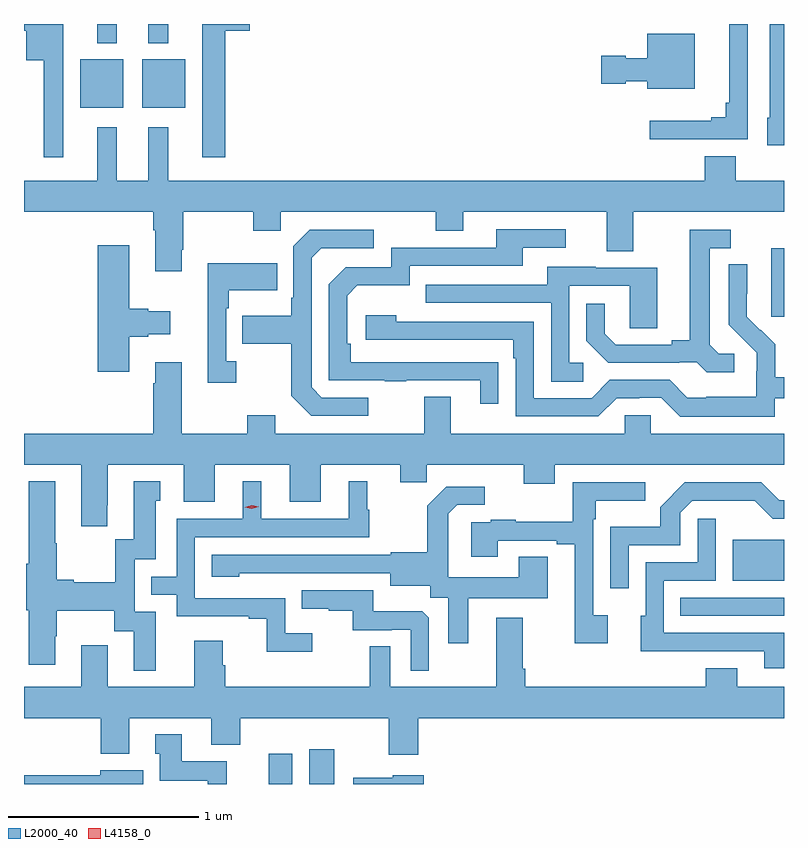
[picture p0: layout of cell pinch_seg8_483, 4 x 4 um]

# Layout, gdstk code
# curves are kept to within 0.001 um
import gdstk
lib = gdstk.Library(unit=1e-6, precision=1e-09)
def R(c, l, rs):  # rectangles x0, y0, x1, y1
    for r in rs: c.add(gdstk.rectangle(r[:2], r[2:], *l))
def P(c, l, *ps):  # polygons
    for p in ps: c.add(gdstk.Polygon(p, *l))
L2000_40 = (2000, 40)
L4158_0 = (4158, 0)

pinch_seg8_483 = lib.new_cell('pinch_seg8_483')
R(pinch_seg8_483, L2000_40, [(231.074,1122.813,231.199,1122.973), (231.287,1122.813,231.418,1122.997), (233.239,1123.698,233.786,1123.794), (233.516,1123.883,233.786,1124.098), (233.72,1125.273,233.786,1125.634), (230.081,1126.373,230.308,1126.627), (230.408,1126.373,230.635,1126.627), (230.171,1126.712,230.275,1126.813), (230.441,1126.712,230.545,1126.813)])
P(pinch_seg8_483, L2000_40, [(233.595,1126.813),(233.498,1126.813),(233.498,1126.399),(233.479,1126.399),(233.479,1126.322),(233.402,1126.322),(233.402,1126.303),(233.079,1126.303),(233.079,1126.206),(233.595,1126.206)],
  [(230.845,1126.778),(230.974,1126.778),(230.974,1126.813),(230.723,1126.813),(230.723,1126.113),(230.845,1126.113)],
  [(229.993,1126.813),(229.786,1126.813),(229.786,1126.778),(229.799,1126.778),(229.799,1126.622),(229.889,1126.622),(229.889,1126.113),(229.993,1126.113)],
  [(233.786,1126.813),(233.712,1126.813),(233.712,1126.32),(233.699,1126.32),(233.699,1126.176),(233.786,1126.176)],
  [(233.317,1126.762),(233.066,1126.762),(233.066,1126.633),(232.953,1126.633),(232.953,1126.646),(232.824,1126.646),(232.824,1126.499),(232.953,1126.499),(232.953,1126.511),(233.066,1126.511),(233.066,1126.472),(233.317,1126.472)],
  [(230.545,1126.27),(230.441,1126.27),(230.441,1125.988),(230.275,1125.988),(230.275,1126.27),(230.171,1126.27),(230.171,1125.988),(229.786,1125.988),(229.786,1125.824),(230.465,1125.824),(230.465,1125.728),(230.477,1125.728),(230.477,1125.513),(230.617,1125.513),(230.617,1125.625),(230.625,1125.625),(230.625,1125.824),(230.992,1125.824),(230.992,1125.725),(231.138,1125.725),(231.138,1125.824),(231.952,1125.824),(231.952,1125.725),(232.099,1125.725),(232.099,1125.824),(232.853,1125.824),(232.853,1125.616),(232.993,1125.616),(232.993,1125.824),(233.786,1125.824),(233.786,1125.988),(233.533,1125.988),(233.533,1126.117),(233.369,1126.117),(233.369,1125.988),(230.545,1125.988)],
  [(232.283,1125.032),(231.506,1125.033),(231.506,1125.13),(231.486,1125.13),(231.486,1125.384),(231.539,1125.437),(231.816,1125.437),(231.816,1125.54),(232.411,1125.54),(232.411,1125.636),(232.636,1125.636),(232.636,1125.732),(232.271,1125.732),(232.271,1125.636),(231.72,1125.636),(231.72,1125.534),(231.48,1125.534),(231.39,1125.444),(231.39,1124.937),(231.685,1124.937),(231.685,1124.932),(231.797,1124.932),(231.797,1124.937),(232.187,1124.937),(232.187,1124.814),(232.283,1124.814)],
  [(233.524,1125.078),(233.442,1125.078),(233.395,1125.125),(233.395,1125.633),(233.506,1125.633),(233.506,1125.729),(233.291,1125.729),(233.291,1125.149),(233.195,1125.149),(233.195,1125.126),(232.9,1125.126),(232.843,1125.183),(232.843,1125.34),(232.746,1125.34),(232.746,1125.146),(232.862,1125.03),(233.234,1125.03),(233.234,1125.033),(233.328,1125.033),(233.38,1124.981),(233.524,1124.981)],
  [(231.598,1124.847),(231.354,1124.847),(231.3,1124.901),(231.3,1125.582),(231.351,1125.633),(231.628,1125.633),(231.628,1125.729),(231.291,1125.729),(231.204,1125.642),(231.204,1125.373),(231.192,1125.373),(231.192,1125.277),(230.935,1125.277),(230.935,1125.13),(231.192,1125.13),(231.192,1124.857),(231.297,1124.751),(231.598,1124.751)],
  [(230.341,1125.167),(230.441,1125.167),(230.441,1125.179),(230.557,1125.179),(230.557,1125.301),(230.441,1125.301),(230.441,1125.314),(230.341,1125.314),(230.341,1125.649),(230.174,1125.649),(230.174,1124.982),(230.341,1124.982)],
  [(230.902,1125.038),(230.85,1125.038),(230.85,1125.317),(230.863,1125.317),(230.863,1125.413),(231.119,1125.413),(231.119,1125.553),(230.753,1125.553),(230.753,1124.925),(230.902,1124.925)],
  [(233.736,1124.844),(233.786,1124.844),(233.786,1124.953),(233.741,1124.953),(233.741,1125.127),(233.664,1125.204),(233.661,1125.201),(233.591,1125.272),(233.592,1125.548),(233.496,1125.548),(233.496,1125.23),(233.642,1125.082),(233.642,1124.985),(233.64,1124.985),(233.64,1124.851),(233.377,1124.851),(233.377,1124.847),(233.277,1124.847),(233.184,1124.94),(232.869,1124.94),(232.773,1124.844),(232.47,1124.844),(232.47,1125.246),(231.746,1125.246),(231.746,1125.28),(231.585,1125.28),(231.585,1125.15),(232.361,1125.15),(232.361,1125.053),(232.374,1125.053),(232.374,1124.748),(232.809,1124.748),(232.905,1124.844),(233.024,1124.844),(233.024,1124.847),(233.139,1124.847),(233.239,1124.747),(233.736,1124.747)],
  [(232.729,1125.03),(232.656,1125.03),(232.656,1125.435),(232.974,1125.435),(232.974,1125.211),(233.119,1125.211),(233.119,1125.531),(232.795,1125.531),(232.795,1125.535),(232.541,1125.535),(232.541,1125.441),(231.901,1125.441),(231.901,1125.345),(232.56,1125.345),(232.56,1124.929),(232.729,1124.929)],
  [(230.224,1124.281),(230.227,1124.281),(230.227,1124.492),(230.627,1124.492),(230.627,1124.298),(230.791,1124.298),(230.791,1124.492),(231.185,1124.492),(231.185,1124.298),(231.349,1124.298),(231.349,1124.492),(231.767,1124.492),(231.767,1124.402),(231.905,1124.402),(231.905,1124.492),(232.415,1124.492),(232.415,1124.393),(232.579,1124.393),(232.579,1124.492),(233.786,1124.492),(233.786,1124.656),(233.085,1124.656),(233.085,1124.754),(232.947,1124.754),(232.947,1124.656),(232.033,1124.656),(232.033,1124.851),(231.893,1124.851),(231.893,1124.656),(231.109,1124.656),(231.109,1124.755),(230.962,1124.755),(230.962,1124.656),(230.617,1124.656),(230.617,1125.034),(230.477,1125.034),(230.477,1124.921),(230.465,1124.921),(230.465,1124.656),(229.786,1124.656),(229.786,1124.492),(230.087,1124.492),(230.087,1124.169),(230.224,1124.169)],
  [(231.304,1123.606),(231.162,1123.606),(231.162,1123.791),(230.685,1123.791),(230.685,1124.112),(231.604,1124.112),(231.604,1124.256),(231.592,1124.256),(231.592,1124.407),(231.494,1124.407),(231.494,1124.208),(231.034,1124.208),(231.034,1124.407),(230.936,1124.407),(230.936,1124.208),(230.589,1124.208),(230.589,1123.905),(230.455,1123.905),(230.455,1123.809),(230.589,1123.809),(230.589,1123.695),(230.969,1123.695),(230.969,1123.683),(231.064,1123.683),(231.064,1123.508),(231.304,1123.508)],
  [(230.479,1123.719),(230.37,1123.719),(230.37,1123.995),(230.479,1123.995),(230.479,1124.304),(230.503,1124.304),(230.503,1124.407),(230.363,1124.407),(230.363,1124.1),(230.267,1124.1),(230.267,1123.876),(230.047,1123.876),(230.047,1123.889),(229.959,1123.889),(229.959,1124.081),(229.951,1124.081),(229.951,1124.407),(229.811,1124.407),(229.811,1123.972),(229.799,1123.972),(229.799,1123.728),(229.811,1123.728),(229.811,1123.44),(229.951,1123.44),(229.951,1123.59),(229.959,1123.59),(229.959,1123.724),(230.262,1123.724),(230.262,1123.618),(230.363,1123.618),(230.363,1123.41),(230.479,1123.41)],
  [(232.968,1124.07),(233.241,1124.07),(233.241,1124.241),(233.304,1124.304),(233.633,1124.303),(233.727,1124.208),(233.786,1124.208),(233.786,1124.306),(233.762,1124.306),(233.667,1124.4),(233.264,1124.4),(233.134,1124.27),(233.134,1124.167),(232.872,1124.167),(232.872,1123.842),(232.968,1123.842)],
  [(232.858,1123.702),(232.782,1123.702),(232.782,1124.207),(232.795,1124.207),(232.795,1124.303),(233.056,1124.303),(233.056,1124.4),(232.674,1124.4),(232.674,1124.192),(232.375,1124.192),(232.375,1124.203),(232.243,1124.203),(232.243,1124.19),(232.139,1124.19),(232.139,1124.01),(232.279,1124.01),(232.279,1124.094),(232.589,1124.094),(232.589,1124.076),(232.685,1124.076),(232.685,1123.554),(232.858,1123.554)],
  [(232.123,1123.79),(232.543,1123.79),(232.543,1124.009),(232.391,1124.009),(232.391,1123.9),(232.02,1123.9),(232.02,1124.141),(232.018,1124.141),(232.018,1124.236),(232.065,1124.283),(232.21,1124.283),(232.21,1124.377),(232.009,1124.377),(231.909,1124.277),(231.909,1124.032),(231.717,1124.032),(231.717,1124.019),(230.775,1124.019),(230.775,1123.904),(230.919,1123.904),(230.919,1123.922),(231.713,1123.923),(231.713,1123.856),(231.924,1123.856),(231.924,1123.792),(232.019,1123.792),(232.019,1123.554),(232.123,1123.554)],
  [(233.786,1123.608),(233.154,1123.608),(233.154,1123.884),(233.427,1123.884),(233.427,1124.209),(233.331,1124.209),(233.331,1123.98),(233.058,1123.98),(233.058,1123.698),(233.033,1123.698),(233.033,1123.511),(233.251,1123.511),(233.251,1123.512),(233.681,1123.512),(233.681,1123.422),(233.786,1123.422)],
  [(231.915,1123.689),(231.883,1123.721),(231.625,1123.721),(231.625,1123.833),(231.247,1123.833),(231.247,1123.736),(231.391,1123.736),(231.391,1123.725),(231.515,1123.725),(231.515,1123.623),(231.722,1123.623),(231.722,1123.626),(231.822,1123.626),(231.822,1123.409),(231.915,1123.409)],
  [(231.86,1123.16),(233.786,1123.16),(233.786,1123.324),(233.539,1123.324),(233.539,1123.423),(233.375,1123.423),(233.375,1123.324),(232.424,1123.324),(232.424,1123.42),(232.411,1123.42),(232.411,1123.687),(232.271,1123.687),(232.271,1123.324),(231.714,1123.324),(231.714,1123.538),(231.606,1123.538),(231.606,1123.324),(230.846,1123.324),(230.846,1123.437),(230.833,1123.437),(230.833,1123.567),(230.681,1123.567),(230.681,1123.324),(230.227,1123.324),(230.227,1123.543),(230.087,1123.543),(230.087,1123.324),(229.786,1123.324),(229.786,1123.16),(230.189,1123.16),(230.189,1122.971),(230.341,1122.971),(230.341,1123.16),(230.771,1123.16),(230.771,1123.019),(230.924,1123.019),(230.924,1123.16),(231.707,1123.16),(231.707,1122.966),(231.86,1122.966)],
  [(230.853,1122.934),(230.617,1122.934),(230.617,1123.075),(230.477,1123.075),(230.477,1122.972),(230.501,1122.972),(230.501,1122.83),(230.754,1122.83),(230.754,1122.813),(230.853,1122.813)],
  [(230.413,1122.886),(230.186,1122.886),(230.186,1122.859),(229.786,1122.859),(229.786,1122.813),(230.413,1122.813)],
  [(231.889,1122.859),(231.726,1122.859),(231.726,1122.847),(231.518,1122.847),(231.518,1122.813),(231.889,1122.813)])
P(pinch_seg8_483, L4158_0, [(230.985,1124.261),(230.949,1124.27),(230.949,1124.27),(230.949,1124.27),(230.985,1124.281),(231.021,1124.272),(231.021,1124.271),(231.021,1124.271)])

lib.write_gds('pinch_seg8_483.gds')
